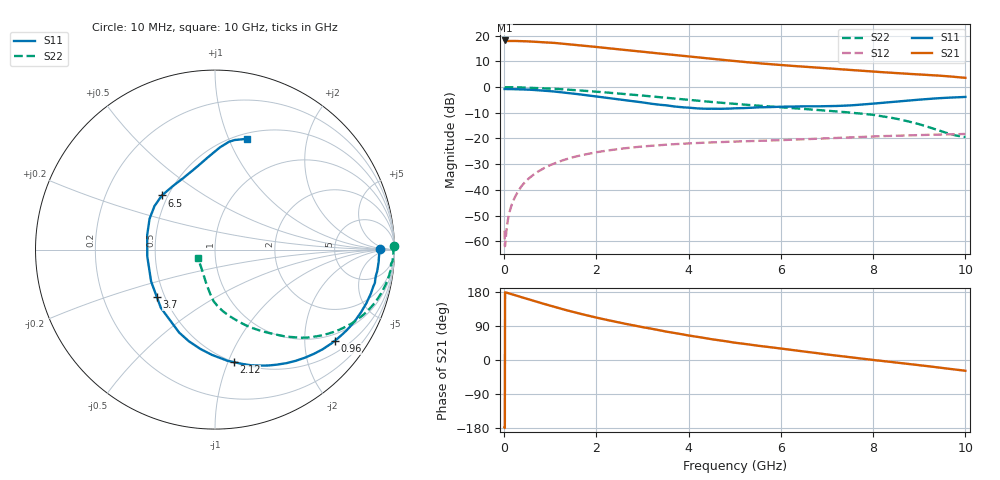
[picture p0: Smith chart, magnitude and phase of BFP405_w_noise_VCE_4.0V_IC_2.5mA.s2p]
! Infineon Technologies  Discrete & RF Semiconductors
! BFP405
! VCE =  4.0 V,  IC =  2.5 mA
! Common Emitter S-Parameters:  Jan 2016
# GHz  S  MA  R  50
!  f  S11  S21  S12  S22
! GHz  MAG  ANG  MAG  ANG  MAG  ANG  MAG  ANG
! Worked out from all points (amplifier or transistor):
!   233 points, 10 MHz to 10 GHz, reference 50 ohm
!   highest |S21| = 18.2 dB at 10 MHz (marker M1)
!   |S21| within 3 dB of that: start of sweep to 2.244 GHz
!   unconditionally stable (mu >= 1): 14.93 MHz to 15.19 MHz; 4.2 GHz to end of sweep
!   at 200 MHz: K = 0.10, MSG = 31.0 dB, |S12| = -44.2 dB
!   at 1.74 GHz: K = 0.36, MSG = 21.2 dB, |S12| = -26.3 dB
!   at 10 GHz: K = 1.61, MAG = 6.4 dB, |S12| = -18.3 dB
!   lowest NFmin = 0.94 dB at 900 MHz
!   S11 on the Smith chart (normalised r, x): 10 MHz: 23, +1; 960 MHz: 0.80, -2.75; 2.12 GHz: 0.50, -1.05; 3.7 GHz: 0.45, -0.29; 6.5 GHz: 0.46, +0.34; 10 GHz: 0.56, +1.17
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0.01  0.9177 0.3  8.091 -177.8  0.0016 -43.0  1 1.0
0.015  0.9172 -0.0  8.019 -179.6  0.0008 -14.5  0.995 0.6
0.02  0.9168 -0.4  7.956 178.5  0.0008 57.9  0.9901 0.2
0.08  0.9141 -3.3  7.917 176.6  0.0026 81.4  0.994 -1.3
0.14  0.9137 -5.3  7.911 174.5  0.0044 82.7  0.9925 -2.6
0.42  0.9006 -16.4  7.82 164.1  0.0131 80.1  0.982 -7.9
0.7  0.8744 -27.3  7.618 154.0  0.0216 75.3  0.9646 -13.0
0.96  0.8388 -37.3  7.38 144.6  0.0292 70.3  0.9415 -17.8
1.32  0.7798 -50.9  6.943 132.4  0.0388 63.7  0.9016 -23.9
1.68  0.7149 -64.4  6.471 121.2  0.0473 57.4  0.8558 -29.4
2.12  0.6352 -80.6  5.881 108.7  0.0561 50.6  0.798 -35.4
2.62  0.5565 -99.0  5.281 95.7  0.0645 43.7  0.7327 -41.5
3  0.5034 -113.4  4.882 86.7  0.0699 39.0  0.6838 -45.9
3.4  0.4506 -128.6  4.486 77.7  0.0745 34.4  0.6326 -50.1
3.7  0.4187 -140.6  4.212 71.2  0.0775 31.2  0.5967 -53.1
4  0.3979 -153.4  3.964 64.6  0.0803 28.3  0.5626 -56.3
4.5  0.3793 -174.3  3.569 54.8  0.084 24.0  0.5131 -61.3
5.1  0.3879 165.3  3.154 44.2  0.0875 19.6  0.4636 -66.9
6.5  0.4227 134.5  2.5 22.4  0.0966 12.3  0.3757 -78.3
6.8  0.4222 127.7  2.384 17.9  0.0991 10.7  0.3582 -80.7
8.4  0.5137 94.7  1.898 -5.3  0.1124 1.0  0.2524 -95.6
10  0.6433 73.7  1.516 -28.4  0.1223 -8.4  0.1064 -153.2
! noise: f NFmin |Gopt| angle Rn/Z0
0.9  0.94  0.53  14  0.37
1.8  1.25  0.42  26  0.35
2.4  1.45  0.36  35  0.34
3  1.48  0.34  51  0.32
4  1.69  0.22  76  0.25
5  2.05  0.17  117  0.21
